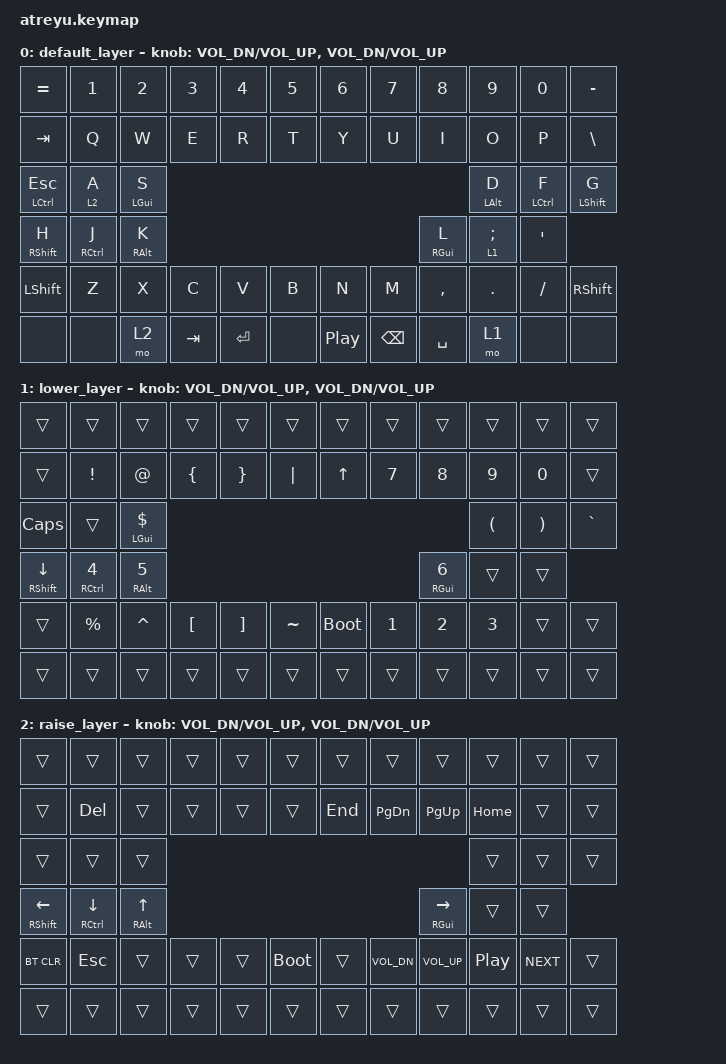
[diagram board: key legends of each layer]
/*
 * Copyright (c) 2020 The ZMK Contributors
 *
 * SPDX-License-Identifier: MIT
 */

#include <behaviors.dtsi>
#include <dt-bindings/zmk/keys.h>
#include <dt-bindings/zmk/bt.h>

/ {
        behaviors {
        qht: qmklike_hold_tap {
                compatible = "zmk,behavior-hold-tap";
                #binding-cells = <2>;
                tapping-term-ms = <200>;
                quick-tap-ms = <0>;
                flavor = "tap-preferred";
                bindings = <&kp>, <&kp>;
            };
        };

        keymap {
                compatible = "zmk,keymap";

                default_layer {
                        bindings = <
   &kp EQUAL &kp N1  &kp N2   &kp N3   &kp N4  &kp N5    &kp N6 &kp N7    &kp N8    &kp N9  &kp N0   &kp MINUS
   &kp TAB   &kp Q   &kp W    &kp E    &kp R   &kp T     &kp Y  &kp U     &kp I     &kp O   &kp P    &kp BSLH

   &qht LCTRL ESC         &lt 2 A           &qht LGUI S        &qht LALT D       &qht LCTRL F       &qht LSHFT G
   &qht RSHFT H       &qht RCTRL J       &qht RALT K        &qht RGUI L       &lt 1 SEMI        &kp SQT

   &kp LSHFT &kp Z   &kp X    &kp C    &kp V   &kp B     &kp N  &kp M     &kp COMMA &kp DOT &kp FSLH &kp RSHFT
   &none     &none   &mo 2    &kp TAB  &kp RET &none     &kp C_PLAY_PAUSE &kp BKSP  &kp SPACE &mo 1 &none &none
                        >;
			sensor-bindings = <&inc_dec_kp C_VOL_DN C_VOL_UP &inc_dec_kp C_VOL_DN C_VOL_UP>;
                };

                lower_layer {
                        bindings = <
   &trans &trans   &trans   &trans   &trans   &trans      &trans  &trans   &trans    &trans   &trans  &trans
   &trans &kp EXCL &kp AT   &kp LBRC &kp RBRC &kp PIPE    &kp UP  &kp N7   &kp N8    &kp N9   &kp N0  &trans

   &kp CAPS        &trans            &qht LGUI DLLR        &kp LPAR         &kp RPAR           &kp GRAVE
   &qht RSHFT DOWN  &qht RCTRL N4      &qht RALT N5          &qht RGUI N6      &trans             &trans

   &trans &kp PRCNT &kp CARET &kp LBKT &kp RBKT &kp TILDE &bootloader &kp N1 &kp N2 &kp N3    &trans  &trans
   &trans &trans   &trans   &trans   &trans   &trans      &trans  &trans   &trans    &trans   &trans  &trans
                        >;
			sensor-bindings = <&inc_dec_kp C_VOL_DN C_VOL_UP &inc_dec_kp C_VOL_DN C_VOL_UP>;
                };

                raise_layer {
                        bindings = <
   &trans &trans   &trans   &trans   &trans   &trans      &trans  &trans    &trans     &trans    &trans  &trans
   &trans &kp DEL  &trans   &trans   &trans   &trans      &kp END &kp PG_DN &kp PG_UP &kp HOME &trans  &trans

   &trans          &trans            &trans               &trans            &trans             &trans
   &qht RSHFT LEFT  &qht RCTRL DOWN    &qht RALT UP          &qht RGUI RIGHT    &trans             &trans

   &bt BT_CLR &kp ESC  &trans   &trans   &trans   &bootloader &trans  &kp C_VOL_DN &kp C_VOL_UP &kp C_PLAY_PAUSE &kp C_NEXT  &trans
   &trans &trans   &trans   &trans   &trans   &trans      &trans  &trans    &trans     &trans    &trans  &trans
                        >;
			sensor-bindings = <&inc_dec_kp C_VOL_DN C_VOL_UP &inc_dec_kp C_VOL_DN C_VOL_UP>;
                };
        };
};
